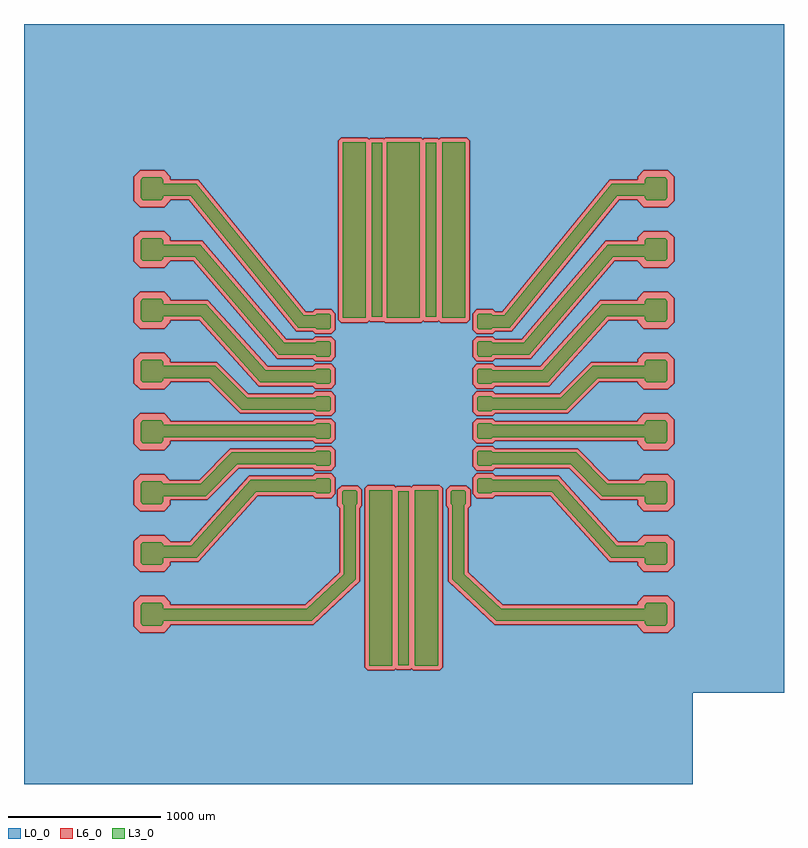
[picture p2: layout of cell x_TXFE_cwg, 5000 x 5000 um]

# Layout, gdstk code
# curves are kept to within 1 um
import gdstk
lib = gdstk.Library(unit=1e-6, precision=1e-09)
def P(c, l, *ps):  # polygons
    for p in ps: c.add(gdstk.Polygon(p, *l))
L0_0 = (0, 0)
L3_0 = (3, 0)
L6_0 = (6, 0)

x_txfe_cwg = lib.new_cell('x_TXFE_cwg')
P(x_txfe_cwg, L0_0, [(4000,-2000),(4000,437.603),(4763.445,437.603),(4721.499,395.657),(4721.499,237.549),(4763.445,195.603),(4921.553,195.603),(4949.45,223.5),(5914.659,223.5),(5898.372,207.213),(5357.466,206.889),(5151.581,-1.095),(4960.252,-1.095),(4921.553,37.604),(4763.445,37.604),(4721.499,-4.342),(4721.499,-162.452),(4763.445,-204.398),(4921.553,-204.398),(4963.499,-162.452),(4963.499,-131.095),(5205.817,-131.095),(5378.649,43.5),(5914.659,43.5),(5898.969,27.81),(5481.479,27.59),(5089.494,-406.995),(4963.499,-406.995),(4963.499,-404.343),(4921.553,-362.397),(4763.445,-362.397),(4721.499,-404.343),(4721.499,-562.451),(4763.445,-604.397),(4921.553,-604.397),(4963.499,-562.451),(4963.499,-536.995),(5147.305,-536.995),(5539.319,-102.38),(5898.35,-102.191),(5914.659,-118.5),(6020.339,-118.5),(6048.499,-90.34),(6048.499,-36.5),(6089.659,-36.5),(6061.499,-64.66),(6061.499,-170.34),(6077.506,-186.347),(6077.968,-608.29),(5851.258,-821.108),(4963.499,-821.557),(4963.499,-804.342),(4921.553,-762.396),(4763.445,-762.396),(4721.499,-804.342),(4721.499,-962.45),(4763.445,-1004.396),(4921.553,-1004.396),(4963.499,-962.45),(4963.499,-951.557),(5902.741,-951.082),(6208.03,-664.501),(6207.506,-186.333),(6223.499,-170.34),(6223.499,-64.66),(6195.339,-36.5),(6048.499,-36),(6560.573,-36),(6548.246,-48.327),(6542.425,-42.505),(6452.573,-42.505),(6446.751,-48.327),(6434.425,-36),(6260.573,-36),(6240.999,-55.574),(6240.999,-1232.416),(6260.573,-1251.99),(6434.425,-1251.99),(6444.744,-1241.671),(6452.573,-1249.5),(6542.425,-1249.5),(6550.254,-1241.671),(6560.573,-1251.99),(6734.425,-1251.99),(6753.999,-1232.416),(6753.999,-55.574),(6734.925,-36.5),(6804.659,-36.5),(6776.499,-64.66),(6776.499,-170.34),(6792.492,-186.333),(6791.968,-664.601),(7097.257,-951.182),(8036.5,-951.657),(8036.5,-962.451),(8078.446,-1004.397),(8236.554,-1004.397),(8278.5,-962.451),(8278.5,-804.343),(8236.554,-762.397),(8078.446,-762.397),(8036.5,-804.343),(8036.5,-821.657),(7148.74,-821.208),(6922.03,-608.39),(6922.492,-186.347),(6938.499,-170.34),(6938.499,-64.66),(6910.339,-36.5),(6048.499,-36),(6048.499,15.34),(6020.339,43.5),(6979.659,43.5),(6951.499,15.34),(6951.499,-90.34),(6979.659,-118.5),(7085.339,-118.5),(7101.548,-102.291),(7460.679,-102.48),(7852.693,-537.095),(8036.5,-537.095),(8036.5,-562.451),(8078.446,-604.397),(8236.554,-604.397),(8278.5,-562.451),(8278.5,-404.343),(8236.554,-362.397),(8078.446,-362.397),(8036.5,-404.343),(8036.5,-407.095),(7910.504,-407.095),(7518.519,27.49),(7101.129,27.71),(7085.339,43.5),(5378.649,43.5),(5411.732,76.921),(5898.945,77.214),(5914.659,61.5),(6020.339,61.5),(6048.499,89.66),(6048.499,195.34),(6020.339,223.5),(6979.659,223.5),(6951.499,195.34),(6951.499,89.66),(6979.659,61.5),(7085.339,61.5),(7100.953,77.114),(7588.266,76.821),(7794.181,-131.195),(8036.5,-131.195),(8036.5,-162.452),(8078.446,-204.398),(8236.554,-204.398),(8278.5,-162.452),(8278.5,-4.342),(8236.554,37.604),(8078.446,37.604),(8039.647,-1.195),(7848.417,-1.195),(7642.532,206.789),(7101.726,207.113),(7085.339,223.5),(4949.45,223.5),(4963.499,237.549),(4963.499,257.31),(5898.758,257.401),(5914.659,241.5),(6020.339,241.5),(6048.499,269.66),(6048.499,375.34),(6020.339,403.5),(5914.659,403.5),(5898.56,387.401),(4963.499,387.31),(4963.499,395.657),(4921.553,437.603),(4000,437.603),(4000,837.604),(4763.445,837.604),(4721.499,795.658),(4721.499,637.55),(4763.445,595.604),(4921.553,595.604),(4963.499,637.55),(4963.499,645.905),(5215.381,645.905),(5421.266,437.921),(5898.524,437.635),(5914.659,421.5),(6020.339,421.5),(6048.499,449.66),(6048.499,555.34),(6020.339,583.5),(5914.659,583.5),(5898.794,567.635),(5475.532,567.889),(5269.617,775.905),(4963.499,775.905),(4963.499,795.658),(4921.553,837.604),(4000,837.604),(4000,1237.604),(4763.445,1237.604),(4721.499,1195.658),(4721.499,1037.55),(4763.445,995.604),(4921.553,995.604),(4963.499,1037.55),(4963.499,1052.505),(5152.594,1052.505),(5544.579,617.92),(5898.425,617.734),(5914.659,601.5),(6020.339,601.5),(6048.499,629.66),(6048.499,735.34),(6020.339,763.5),(5914.659,763.5),(5898.893,747.734),(5602.419,747.89),(5210.405,1182.505),(4963.499,1182.505),(4963.499,1195.658),(4921.553,1237.604),(4000,1237.604),(4000,1637.604),(4763.445,1637.604),(4721.499,1595.658),(4721.499,1437.55),(4763.445,1395.604),(4921.553,1395.604),(4963.499,1437.55),(4963.499,1443.205),(5112.359,1443.205),(5664.559,797.505),(5898.654,797.505),(5914.659,781.5),(6020.339,781.5),(6048.499,809.66),(6048.499,915.34),(6020.339,943.5),(5914.659,943.5),(5898.664,927.505),(5724.439,927.505),(5172.239,1573.205),(4963.499,1573.205),(4963.499,1595.658),(4921.553,1637.604),(4000,1637.604),(4000,2037.604),(4763.445,2037.604),(4721.499,1995.658),(4721.499,1837.55),(4763.445,1795.604),(4921.553,1795.604),(4963.499,1837.55),(4963.499,1844.705),(5084.522,1844.705),(5791.322,977.505),(5898.654,977.505),(5914.659,961.5),(6020.339,961.5),(6048.499,989.66),(6048.499,1095.34),(6020.339,1123.5),(5914.659,1123.5),(5898.664,1107.505),(5853.076,1107.505),(5146.276,1974.705),(4963.499,1974.705),(4963.499,1995.658),(4921.553,2037.604),(4000,2037.604),(4000,2251.99),(6740.573,2251.99),(6730.254,2241.671),(6722.425,2249.5),(6632.573,2249.5),(6624.744,2241.671),(6614.425,2251.99),(6375.573,2251.99),(6370.254,2246.671),(6367.425,2249.5),(6277.573,2249.5),(6269.744,2241.671),(6259.425,2251.99),(6085.573,2251.99),(6065.999,2232.416),(6065.999,1055.574),(6085.573,1036),(6259.425,1036),(6271.751,1048.326),(6277.573,1042.505),(6368.246,1043.326),(6375.573,1036),(6614.425,1036),(6626.751,1048.326),(6632.573,1042.505),(6722.425,1042.505),(6728.246,1048.326),(6740.573,1036),(6914.425,1036),(6933.999,1055.574),(6933.999,2037.604),(8078.446,2037.604),(8036.5,1995.658),(8036.5,1974.605),(7853.722,1974.605),(7146.922,1107.405),(7101.434,1107.405),(7085.339,1123.5),(6979.659,1123.5),(6951.499,1095.34),(6951.499,989.66),(6979.659,961.5),(7085.339,961.5),(7101.244,977.405),(7208.676,977.405),(7746.763,1637.604),(8078.446,1637.604),(8036.5,1595.658),(8036.5,1573.105),(7827.759,1573.105),(7275.559,927.405),(7101.434,927.405),(7085.339,943.5),(6979.659,943.5),(6951.499,915.34),(6951.499,809.66),(6979.659,781.5),(7085.339,781.5),(7101.244,797.405),(7335.439,797.405),(7711.895,1237.603),(8078.446,1237.603),(8036.5,1195.657),(8036.5,1182.405),(7789.593,1182.405),(7397.579,747.79),(7101.205,747.634),(7085.339,763.5),(6979.659,763.5),(6951.499,735.34),(6951.499,629.66),(6979.659,601.5),(7085.339,601.5),(7101.473,617.634),(7455.419,617.82),(7653.658,837.603),(8078.446,837.603),(8036.5,795.657),(8036.5,775.805),(7730.381,775.805),(7524.466,567.789),(7101.304,567.535),(7085.339,583.5),(6979.659,583.5),(6951.499,555.34),(6951.499,449.66),(6979.659,421.5),(7085.339,421.5),(7101.374,437.535),(8078.446,437.603),(8036.5,395.657),(8036.5,387.21),(7101.538,387.301),(7085.339,403.5),(6979.659,403.5),(6951.499,375.34),(6951.499,269.66),(6979.659,241.5),(7085.339,241.5),(7101.14,257.301),(8036.5,257.21),(8036.5,237.549),(8078.446,195.603),(8236.554,195.603),(8278.5,237.549),(8278.5,395.657),(8236.554,437.603),(7214.872,437.603),(7578.732,437.821),(7784.617,645.805),(8036.5,645.805),(8036.5,637.549),(8078.446,595.603),(8236.554,595.603),(8278.5,637.549),(8278.5,795.657),(8236.554,837.603),(7653.658,837.603),(7847.404,1052.405),(8036.5,1052.405),(8036.5,1037.549),(8078.446,995.603),(8236.554,995.603),(8278.5,1037.549),(8278.5,1195.657),(8236.554,1237.603),(7711.895,1237.603),(7887.639,1443.105),(8036.5,1443.105),(8036.5,1437.55),(8078.446,1395.604),(8236.554,1395.604),(8278.5,1437.55),(8278.5,1595.658),(8236.554,1637.604),(7746.763,1637.604),(7915.476,1844.605),(8036.5,1844.605),(8036.5,1837.55),(8078.446,1795.604),(8236.554,1795.604),(8278.5,1837.55),(8278.5,1995.658),(8236.554,2037.604),(6933.999,2037.604),(6933.999,2232.416),(6914.425,2251.99),(4000,2251.99),(4000,3000),(9000,3000),(9000,-1399.9),(8400.1,-1399.9),(8400.1,-2000)])
P(x_txfe_cwg, L3_0, [(6464.999,-1219.5),(6462.999,-1217.5),(6462.999,-74.505),(6464.999,-72.505),(6529.999,-72.505),(6531.999,-74.505),(6531.999,-1217.5),(6529.999,-1219.5)],
  [(4782.499,-958.396),(4767.499,-943.396),(4767.499,-823.396),(4782.499,-808.396),(4902.499,-808.396),(4917.499,-823.396),(4917.499,-846.58),(5861.158,-846.103),(6102.98,-619.099),(6102.485,-167.486),(6092.499,-157.5),(6092.499,-77.5),(6102.499,-67.5),(6182.499,-67.5),(6192.499,-77.5),(6192.499,-157.5),(6182.485,-167.5),(6183.018,-653.691),(5892.84,-926.087),(4917.499,-926.58),(4917.499,-943.396),(4902.499,-958.396)],
  [(8097.5,-958.397),(8082.5,-943.397),(8082.5,-926.68),(7107.158,-926.187),(6816.98,-653.791),(6817.513,-167.5),(6807.499,-157.5),(6807.499,-77.5),(6817.499,-67.5),(6897.499,-67.5),(6907.499,-77.5),(6907.499,-157.5),(6897.513,-167.486),(6897.018,-619.199),(7138.84,-846.203),(8082.5,-846.68),(8082.5,-823.397),(8097.5,-808.397),(8217.5,-808.397),(8232.5,-823.397),(8232.5,-943.397),(8217.5,-958.397)],
  [(6272.999,-1221.99),(6270.999,-1219.99),(6270.999,-68),(6272.999,-66),(6421.999,-66),(6423.999,-68),(6423.999,-1219.99),(6421.999,-1221.99)],
  [(6572.999,-1221.99),(6570.999,-1219.99),(6570.999,-68),(6572.999,-66),(6721.999,-66),(6723.999,-68),(6723.999,-1219.99),(6721.999,-1221.99)],
  [(4782.499,-558.397),(4767.499,-543.397),(4767.499,-423.397),(4782.499,-408.397),(4902.499,-408.397),(4917.499,-423.397),(4917.499,-431.995),(5100.611,-431.995),(5492.602,2.596),(5917.819,2.82),(5927.499,12.5),(6007.499,12.5),(6017.499,2.5),(6017.499,-77.5),(6007.499,-87.5),(5927.499,-87.5),(5917.499,-77.18),(5528.196,-77.386),(5136.187,-511.995),(4917.499,-511.995),(4917.499,-543.397),(4902.499,-558.397)],
  [(8097.5,-558.397),(8082.5,-543.397),(8082.5,-512.095),(7863.811,-512.095),(7471.802,-77.486),(7082.499,-77.28),(7072.499,-87.5),(6992.499,-87.5),(6982.499,-77.5),(6982.499,2.5),(6992.499,12.5),(7072.499,12.5),(7082.279,2.72),(7507.396,2.496),(7899.387,-432.095),(8082.5,-432.095),(8082.5,-423.397),(8097.5,-408.397),(8217.5,-408.397),(8232.5,-423.397),(8232.5,-543.397),(8217.5,-558.397)],
  [(4782.499,-158.398),(4767.499,-143.398),(4767.499,-23.396),(4782.499,-8.396),(4902.499,-8.396),(4917.499,-23.396),(4917.499,-26.095),(5162.011,-26.095),(5367.902,181.895),(5917.499,182.225),(5927.499,192.5),(6007.499,192.5),(6017.499,182.5),(6017.499,102.5),(6007.499,92.5),(5927.499,92.5),(5917.774,102.225),(5401.296,101.915),(5195.387,-106.095),(4917.499,-106.095),(4917.499,-143.398),(4902.499,-158.398)],
  [(8097.5,-158.398),(8082.5,-143.398),(8082.5,-106.195),(7804.611,-106.195),(7598.702,101.815),(7082.124,102.125),(7072.499,92.5),(6992.499,92.5),(6982.499,102.5),(6982.499,182.5),(6992.499,192.5),(7072.499,192.5),(7082.499,182.125),(7632.096,181.795),(7837.987,-26.195),(8082.5,-26.195),(8082.5,-23.396),(8097.5,-8.396),(8217.5,-8.396),(8232.5,-23.396),(8232.5,-143.398),(8217.5,-158.398)],
  [(4782.499,241.603),(4767.499,256.603),(4767.499,376.603),(4782.499,391.603),(4902.499,391.603),(4917.499,376.603),(4917.499,362.305),(5917.499,362.403),(5927.499,372.5),(6007.499,372.5),(6017.499,362.5),(6017.499,282.5),(6007.499,272.5),(5927.499,272.5),(5917.596,282.403),(4917.499,282.305),(4917.499,256.603),(4902.499,241.603)],
  [(8097.5,241.603),(8082.5,256.603),(8082.5,282.205),(7082.302,282.303),(7072.499,272.5),(6992.499,272.5),(6982.499,282.5),(6982.499,362.5),(6992.499,372.5),(7072.499,372.5),(7082.499,362.303),(8082.5,362.205),(8082.5,376.603),(8097.5,391.603),(8217.5,391.603),(8232.5,376.603),(8232.5,256.603),(8217.5,241.603)],
  [(6992.499,452.5),(6982.499,462.5),(6982.499,542.5),(6992.499,552.5),(7072.499,552.5),(7082.476,542.523),(7534.902,542.795),(7740.811,750.805),(8082.5,750.805),(8082.5,776.603),(8097.5,791.603),(8217.5,791.603),(8232.5,776.603),(8232.5,656.603),(8217.5,641.603),(8097.5,641.603),(8082.5,656.603),(8082.5,670.805),(7774.187,670.805),(7568.296,462.815),(7082.499,462.523),(7072.499,452.5)],
  [(5927.499,452.5),(5917.499,462.623),(5431.702,462.915),(5225.811,670.905),(4917.499,670.905),(4917.499,656.604),(4902.499,641.604),(4782.499,641.604),(4767.499,656.604),(4767.499,776.604),(4782.499,791.604),(4902.499,791.604),(4917.499,776.604),(4917.499,750.905),(5259.187,750.905),(5465.096,542.895),(5917.622,542.623),(5927.499,552.5),(6007.499,552.5),(6017.499,542.5),(6017.499,462.5),(6007.499,452.5)],
  [(6992.499,632.5),(6982.499,642.5),(6982.499,722.5),(6992.499,732.5),(7072.499,732.5),(7082.375,722.624),(7408.702,722.796),(7800.711,1157.405),(8082.5,1157.405),(8082.5,1176.603),(8097.5,1191.603),(8217.5,1191.603),(8232.5,1176.603),(8232.5,1056.603),(8217.5,1041.603),(8097.5,1041.603),(8082.5,1056.603),(8082.5,1077.405),(7836.287,1077.405),(7444.296,642.814),(7082.499,642.624),(7072.499,632.5)],
  [(5927.499,632.5),(5917.499,642.724),(5555.702,642.914),(5163.711,1077.505),(4917.499,1077.505),(4917.499,1056.604),(4902.499,1041.604),(4782.499,1041.604),(4767.499,1056.604),(4767.499,1176.604),(4782.499,1191.604),(4902.499,1191.604),(4917.499,1176.604),(4917.499,1157.505),(5199.287,1157.505),(5591.296,722.896),(5917.723,722.724),(5927.499,732.5),(6007.499,732.5),(6017.499,722.5),(6017.499,642.5),(6007.499,632.5)],
  [(5927.499,812.5),(5917.499,822.505),(5676.074,822.505),(5123.874,1468.205),(4917.499,1468.205),(4917.499,1456.604),(4902.499,1441.604),(4782.499,1441.604),(4767.499,1456.604),(4767.499,1576.604),(4782.499,1591.604),(4902.499,1591.604),(4917.499,1576.604),(4917.499,1548.205),(5160.724,1548.205),(5712.924,902.505),(5917.504,902.505),(5927.499,912.5),(6007.499,912.5),(6017.499,902.5),(6017.499,822.5),(6007.499,812.5)],
  [(6992.499,812.5),(6982.499,822.5),(6982.499,902.5),(6992.499,912.5),(7072.499,912.5),(7082.499,902.405),(7287.074,902.405),(7839.274,1548.105),(8082.5,1548.105),(8082.5,1576.604),(8097.5,1591.604),(8217.5,1591.604),(8232.5,1576.604),(8232.5,1456.604),(8217.5,1441.604),(8097.5,1441.604),(8082.5,1456.604),(8082.5,1468.105),(7876.124,1468.105),(7323.924,822.405),(7082.404,822.405),(7072.499,812.5)],
  [(5927.499,992.5),(5917.499,1002.505),(5803.198,1002.505),(5096.398,1869.705),(4917.499,1869.705),(4917.499,1856.604),(4902.499,1841.604),(4782.499,1841.604),(4767.499,1856.604),(4767.499,1976.604),(4782.499,1991.604),(4902.499,1991.604),(4917.499,1976.604),(4917.499,1949.705),(5134.4,1949.705),(5841.2,1082.505),(5917.504,1082.505),(5927.499,1092.5),(6007.499,1092.5),(6017.499,1082.5),(6017.499,1002.5),(6007.499,992.5)],
  [(6992.499,992.5),(6982.499,1002.5),(6982.499,1082.5),(6992.499,1092.5),(7072.499,1092.5),(7082.499,1082.405),(7158.798,1082.405),(7865.598,1949.605),(8082.5,1949.605),(8082.5,1976.604),(8097.5,1991.604),(8217.5,1991.604),(8232.5,1976.604),(8232.5,1856.604),(8217.5,1841.604),(8097.5,1841.604),(8082.5,1856.604),(8082.5,1869.605),(7903.6,1869.605),(7196.8,1002.405),(7082.404,1002.405),(7072.499,992.5)],
  [(6289.999,1072.505),(6287.999,1074.505),(6287.999,2217.5),(6289.999,2219.5),(6354.999,2219.5),(6356.999,2217.5),(6356.999,1074.505),(6354.999,1072.505)],
  [(6644.999,1072.505),(6642.999,1074.505),(6642.999,2217.5),(6644.999,2219.5),(6709.999,2219.5),(6711.999,2217.5),(6711.999,1074.505),(6709.999,1072.505)],
  [(6097.999,1066),(6095.999,1068),(6095.999,2219.99),(6097.999,2221.99),(6246.999,2221.99),(6248.999,2219.99),(6248.999,1068),(6246.999,1066)],
  [(6387.999,1066),(6385.999,1068),(6385.999,2219.99),(6387.999,2221.99),(6601.999,2221.99),(6603.999,2219.99),(6603.999,1068),(6601.999,1066)],
  [(6752.999,1066),(6750.999,1068),(6750.999,2219.99),(6752.999,2221.99),(6901.999,2221.99),(6903.999,2219.99),(6903.999,1068),(6901.999,1066)])
P(x_txfe_cwg, L6_0, [(4763.445,-1004.396),(4721.499,-962.45),(4721.499,-804.342),(4763.445,-762.396),(4921.553,-762.396),(4963.499,-804.342),(4963.499,-821.557),(5851.258,-821.108),(6077.968,-608.29),(6077.506,-186.347),(6061.499,-170.34),(6061.499,-64.66),(6089.659,-36.5),(6195.339,-36.5),(6223.499,-64.66),(6223.499,-170.34),(6207.506,-186.333),(6208.03,-664.501),(5902.741,-951.082),(4963.499,-951.557),(4963.499,-962.45),(4921.553,-1004.396)],
  [(8078.446,-1004.397),(8036.5,-962.451),(8036.5,-951.657),(7097.257,-951.182),(6791.968,-664.601),(6792.492,-186.333),(6776.499,-170.34),(6776.499,-64.66),(6804.659,-36.5),(6910.339,-36.5),(6938.499,-64.66),(6938.499,-170.34),(6922.492,-186.347),(6922.03,-608.39),(7148.74,-821.208),(8036.5,-821.657),(8036.5,-804.343),(8078.446,-762.397),(8236.554,-762.397),(8278.5,-804.343),(8278.5,-962.451),(8236.554,-1004.397)],
  [(6260.573,-1251.99),(6240.999,-1232.416),(6240.999,-55.574),(6260.573,-36),(6434.425,-36),(6446.751,-48.327),(6452.573,-42.505),(6542.425,-42.505),(6548.246,-48.327),(6560.573,-36),(6734.425,-36),(6753.999,-55.574),(6753.999,-1232.416),(6734.425,-1251.99),(6560.573,-1251.99),(6550.254,-1241.671),(6542.425,-1249.5),(6452.573,-1249.5),(6444.744,-1241.671),(6434.425,-1251.99)],
  [(4763.445,-604.397),(4721.499,-562.451),(4721.499,-404.343),(4763.445,-362.397),(4921.553,-362.397),(4963.499,-404.343),(4963.499,-406.995),(5089.494,-406.995),(5481.479,27.59),(5898.969,27.81),(5914.659,43.5),(6020.339,43.5),(6048.499,15.34),(6048.499,-90.34),(6020.339,-118.5),(5914.659,-118.5),(5898.35,-102.191),(5539.319,-102.38),(5147.305,-536.995),(4963.499,-536.995),(4963.499,-562.451),(4921.553,-604.397)],
  [(8078.446,-604.397),(8036.5,-562.451),(8036.5,-537.095),(7852.693,-537.095),(7460.679,-102.48),(7101.548,-102.291),(7085.339,-118.5),(6979.659,-118.5),(6951.499,-90.34),(6951.499,15.34),(6979.659,43.5),(7085.339,43.5),(7101.129,27.71),(7518.519,27.49),(7910.504,-407.095),(8036.5,-407.095),(8036.5,-404.343),(8078.446,-362.397),(8236.554,-362.397),(8278.5,-404.343),(8278.5,-562.451),(8236.554,-604.397)],
  [(4763.445,-204.398),(4721.499,-162.452),(4721.499,-4.342),(4763.445,37.604),(4921.553,37.604),(4960.252,-1.095),(5151.581,-1.095),(5357.466,206.889),(5898.372,207.213),(5914.659,223.5),(6020.339,223.5),(6048.499,195.34),(6048.499,89.66),(6020.339,61.5),(5914.659,61.5),(5898.945,77.214),(5411.732,76.921),(5205.817,-131.095),(4963.499,-131.095),(4963.499,-162.452),(4921.553,-204.398)],
  [(8078.446,-204.398),(8036.5,-162.452),(8036.5,-131.195),(7794.181,-131.195),(7588.266,76.821),(7100.953,77.114),(7085.339,61.5),(6979.659,61.5),(6951.499,89.66),(6951.499,195.34),(6979.659,223.5),(7085.339,223.5),(7101.726,207.113),(7642.532,206.789),(7848.417,-1.195),(8039.647,-1.195),(8078.446,37.604),(8236.554,37.604),(8278.5,-4.342),(8278.5,-162.452),(8236.554,-204.398)],
  [(4763.445,195.603),(4721.499,237.549),(4721.499,395.657),(4763.445,437.603),(4921.553,437.603),(4963.499,395.657),(4963.499,387.31),(5898.56,387.401),(5914.659,403.5),(6020.339,403.5),(6048.499,375.34),(6048.499,269.66),(6020.339,241.5),(5914.659,241.5),(5898.758,257.401),(4963.499,257.31),(4963.499,237.549),(4921.553,195.603)],
  [(8078.446,195.603),(8036.5,237.549),(8036.5,257.21),(7101.14,257.301),(7085.339,241.5),(6979.659,241.5),(6951.499,269.66),(6951.499,375.34),(6979.659,403.5),(7085.339,403.5),(7101.538,387.301),(8036.5,387.21),(8036.5,395.657),(8078.446,437.603),(8236.554,437.603),(8278.5,395.657),(8278.5,237.549),(8236.554,195.603)],
  [(6979.659,421.5),(6951.499,449.66),(6951.499,555.34),(6979.659,583.5),(7085.339,583.5),(7101.304,567.535),(7524.466,567.789),(7730.381,775.805),(8036.5,775.805),(8036.5,795.657),(8078.446,837.603),(8236.554,837.603),(8278.5,795.657),(8278.5,637.549),(8236.554,595.603),(8078.446,595.603),(8036.5,637.549),(8036.5,645.805),(7784.617,645.805),(7578.732,437.821),(7101.374,437.535),(7085.339,421.5)],
  [(5914.659,421.5),(5898.524,437.635),(5421.266,437.921),(5215.381,645.905),(4963.499,645.905),(4963.499,637.55),(4921.553,595.604),(4763.445,595.604),(4721.499,637.55),(4721.499,795.658),(4763.445,837.604),(4921.553,837.604),(4963.499,795.658),(4963.499,775.905),(5269.617,775.905),(5475.532,567.889),(5898.794,567.635),(5914.659,583.5),(6020.339,583.5),(6048.499,555.34),(6048.499,449.66),(6020.339,421.5)],
  [(6979.659,601.5),(6951.499,629.66),(6951.499,735.34),(6979.659,763.5),(7085.339,763.5),(7101.205,747.634),(7397.579,747.79),(7789.593,1182.405),(8036.5,1182.405),(8036.5,1195.657),(8078.446,1237.603),(8236.554,1237.603),(8278.5,1195.657),(8278.5,1037.549),(8236.554,995.603),(8078.446,995.603),(8036.5,1037.549),(8036.5,1052.405),(7847.404,1052.405),(7455.419,617.82),(7101.473,617.634),(7085.339,601.5)],
  [(5914.659,601.5),(5898.425,617.734),(5544.579,617.92),(5152.594,1052.505),(4963.499,1052.505),(4963.499,1037.55),(4921.553,995.604),(4763.445,995.604),(4721.499,1037.55),(4721.499,1195.658),(4763.445,1237.604),(4921.553,1237.604),(4963.499,1195.658),(4963.499,1182.505),(5210.405,1182.505),(5602.419,747.89),(5898.893,747.734),(5914.659,763.5),(6020.339,763.5),(6048.499,735.34),(6048.499,629.66),(6020.339,601.5)],
  [(5914.659,781.5),(5898.654,797.505),(5664.559,797.505),(5112.359,1443.205),(4963.499,1443.205),(4963.499,1437.55),(4921.553,1395.604),(4763.445,1395.604),(4721.499,1437.55),(4721.499,1595.658),(4763.445,1637.604),(4921.553,1637.604),(4963.499,1595.658),(4963.499,1573.205),(5172.239,1573.205),(5724.439,927.505),(5898.664,927.505),(5914.659,943.5),(6020.339,943.5),(6048.499,915.34),(6048.499,809.66),(6020.339,781.5)],
  [(6979.659,781.5),(6951.499,809.66),(6951.499,915.34),(6979.659,943.5),(7085.339,943.5),(7101.434,927.405),(7275.559,927.405),(7827.759,1573.105),(8036.5,1573.105),(8036.5,1595.658),(8078.446,1637.604),(8236.554,1637.604),(8278.5,1595.658),(8278.5,1437.55),(8236.554,1395.604),(8078.446,1395.604),(8036.5,1437.55),(8036.5,1443.105),(7887.639,1443.105),(7335.439,797.405),(7101.244,797.405),(7085.339,781.5)],
  [(5914.659,961.5),(5898.654,977.505),(5791.322,977.505),(5084.522,1844.705),(4963.499,1844.705),(4963.499,1837.55),(4921.553,1795.604),(4763.445,1795.604),(4721.499,1837.55),(4721.499,1995.658),(4763.445,2037.604),(4921.553,2037.604),(4963.499,1995.658),(4963.499,1974.705),(5146.276,1974.705),(5853.076,1107.505),(5898.664,1107.505),(5914.659,1123.5),(6020.339,1123.5),(6048.499,1095.34),(6048.499,989.66),(6020.339,961.5)],
  [(6979.659,961.5),(6951.499,989.66),(6951.499,1095.34),(6979.659,1123.5),(7085.339,1123.5),(7101.434,1107.405),(7146.922,1107.405),(7853.722,1974.605),(8036.5,1974.605),(8036.5,1995.658),(8078.446,2037.604),(8236.554,2037.604),(8278.5,1995.658),(8278.5,1837.55),(8236.554,1795.604),(8078.446,1795.604),(8036.5,1837.55),(8036.5,1844.605),(7915.476,1844.605),(7208.676,977.405),(7101.244,977.405),(7085.339,961.5)],
  [(6085.573,1036),(6065.999,1055.574),(6065.999,2232.416),(6085.573,2251.99),(6259.425,2251.99),(6269.744,2241.671),(6277.573,2249.5),(6367.425,2249.5),(6370.254,2246.671),(6375.573,2251.99),(6614.425,2251.99),(6624.744,2241.671),(6632.573,2249.5),(6722.425,2249.5),(6730.254,2241.671),(6740.573,2251.99),(6914.425,2251.99),(6933.999,2232.416),(6933.999,1055.574),(6914.425,1036),(6740.573,1036),(6728.246,1048.326),(6722.425,1042.505),(6632.573,1042.505),(6626.751,1048.326),(6614.425,1036),(6375.573,1036),(6368.246,1043.326),(6277.573,1042.505),(6271.751,1048.326),(6259.425,1036)])

lib.write_gds('x_TXFE_cwg.gds')
